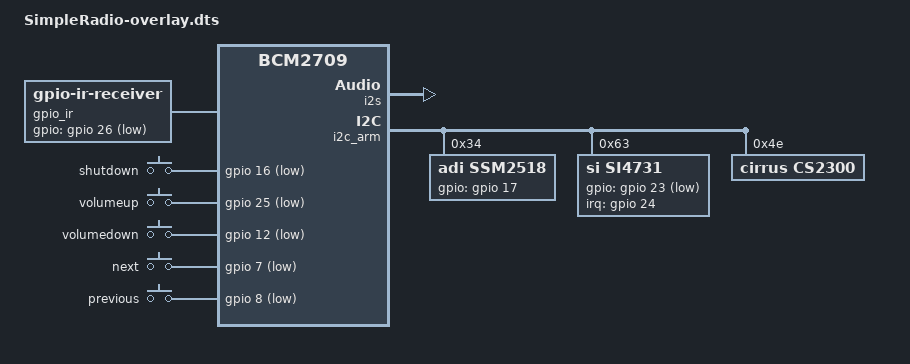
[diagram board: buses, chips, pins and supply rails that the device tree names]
/*
* Definitions for Raspberry Receiver
*/
/dts-v1/;
/plugin/;

/ {
	compatible = "brcm,bcm2708", "brcm,bcm2709";

	fragment@0 {
		target = <&i2s>;
		__overlay__ {
			status = "okay"; /* device is enabled */
		};
	};

	fragment@1 {
		target = <&gpio>;
		__overlay__ {
			status = "okay"; /* device is enabled */
			ssm2518_pins: ssm2518_pins {
				brcm,pins = <17>; /* gpio no. */
				brcm,function = <1>; /* 0:in, 1:out */
				brcm,pull = <1>; /* 2:up 1:down 0:none */
			};
			si473x_pins: si473x_pins {
				brcm,pins = <23>; /* gpio no. */
				brcm,function = <1>; /* 0:in, 1:out */
				brcm,pull = <1>; /* 2:up 1:down 0:none */
			};
			gpio_ir_pins: gpio_ir_pins {
				brcm,pins = <26>;
				brcm,function = <0>; // in
				brcm,pull = <2>; // up
			};
			pin_state: button_pins {
				brcm,pins = <7 8 12 16 25>; // gpio number
				brcm,function = <0 0 0 0 0>; // 0 = input, 1 = output
				brcm,pull = <2 2 2 2 2>; // 0 = none, 1 = pull down, 2 = pull up
			};
		};
	};

	fragment@2 {
		target = <&i2c_arm>;
		__overlay__ {
			#address-cells = <1>;
			#size-cells = <0>;
			status = "okay"; /* device is enabled */
			ssm2518: ssm2518@34 {
				#sound-dai-cells = <0>;
				compatible = "adi,ssm2518";
				reg = <0x34>;
				pinctrl-names = "default";
				pinctrl-0 = <&ssm2518_pins>;
				gpios = <&gpio 17 0>; /* GPIO_ACTIVE_HIGH for ssm2518*/
				status = "okay"; /* device is enabled */
			};
			si4731: si4731@63 {
				#sound-dai-cells = <0>;
				compatible = "si,si4731";
				reg = <0x63>;
				pinctrl-names = "default";
				pinctrl-0 = <&si473x_pins>;
				gpios = <&gpio 23 1>; /* GPIO_ACTIVE_LOW for si4731*/
				interrupt-parent = <&gpio>;
				interrupts = <24 2>; /* falling edge */
				fm_seek_tune_rssi_treshold = /bits/ 16 <0x0014>;
				fm_seek_tune_snr_threshold = /bits/ 16 <0x0003>;
				fm_max_tune_error = /bits/ 16 <0x0014>;
				am_seek_rssi_threshold = /bits/ 16 <0x0019>;
				am_seek_snr_threshold = /bits/ 16 <0x0005>;
				status = "okay"; /* device is enabled */
			};
			cs2300: cs2300@4e {
				#clock-cells = <0>;
				clock-output-names = "i2s_mclk";
				compatible = "cirrus,cs2300";
				reg = <0x4e>;
				ratio-eff = <256>;
				aux-out-src = "disabled";
				min-loop-bw = <128>;
				//clock-skip-enable;
				status = "okay"; /* device is enabled */
			};
		};
	};
	fragment@3 {
		target = <&sound>;
		__overlay__ {
			compatible = "htl-steyr,rpi-receiver";
			rpi-receiver,name = "rpiReceiver";
			rpi-receiver,widgets = "Speaker", "Speaker Out",
									"Line", "In Tuner";
			rpi-receiver,routing = "Speaker Out", "OUTL",
									"Speaker Out", "OUTR",
									"In Tuner", "ROUT",
									"In Tuner", "LOUT";
			rpi-receiver,mclk-fs = <256>;
			status = "okay"; /* device is enabled */
			rpi-receiver,dai-link@0 { /* I2S <- si4731 */
				format = "i2s";
				cpu {
					sound-dai = <&i2s 0>;
				};
				codec {
					sound-dai = <&si4731 0>;
					clocks = <&cs2300>;
				};
			};
			rpi-receiver,dai-link@1 { /* I2S -> ssm2518 */
				format = "i2s";
				cpu {
					sound-dai = <&i2s 0>;
				};
				codec {
					sound-dai = <&ssm2518 0>;
					clocks = <&cs2300>;
				};
			};
		};
	};
	fragment@4 {
		// Add a new device to the /soc devicetree node
		target-path = "/soc";
		__overlay__ {
			buttons {
				// Let the gpio-keys driver handle this device. See:
				// https://www.kernel.org/doc/Documentation/devicetree/bindings/input/gpio-keys.txt
				compatible = "gpio-keys";

				// Declare a single pinctrl state (referencing the one declared above) and name it
				// default, so it is activated automatically.
				pinctrl-names = "default";
				pinctrl-0 = <&pin_state>;

				// Enable this device
				status = "okay";
				autorepeat;

				// Define a single key, called "shutdown" that monitors the gpio and sends KEY_POWER
				// (keycode 116, see
				// https://github.com/torvalds/linux/blob/v4.12/include/uapi/linux/input-event-codes.h#L190)
				shutdown: shutdown {
					label = "shutdown";
					linux,code = <116>; // KEY_POWER
					gpios = <&gpio 16 1>;
				};
				volumeup: volumeup {
					label = "volumeup";
					linux,code = <115>; // KEY_VOLUMEUP
					gpios = <&gpio 25 1>;
				};
				volumedown: volumedown {
					label = "volumedown";
					linux,code = <114>; // KEY_VOLUMEDOWN
					gpios = <&gpio 12 1>;
				};
				next: next {
					label = "next";
					linux,code = <0x197>; // KEY_NEXT
					gpios = <&gpio 7 1>;
				};
				previous: previous {
					label = "previous";
					linux,code = <0x19c>; // KEY_PREVIOUS
					gpios = <&gpio 8 1>;
				};
			};
		};
	};
	fragment@5 {
		target-path = "/";
		__overlay__ {
			gpio_ir: ir-receiver {
				compatible = "gpio-ir-receiver";
				gpios = <&gpio 26 1>;
				// linux,rc-map-name = "rc-rc6-mce";
				status = "okay";
			};
		};
	};
};
